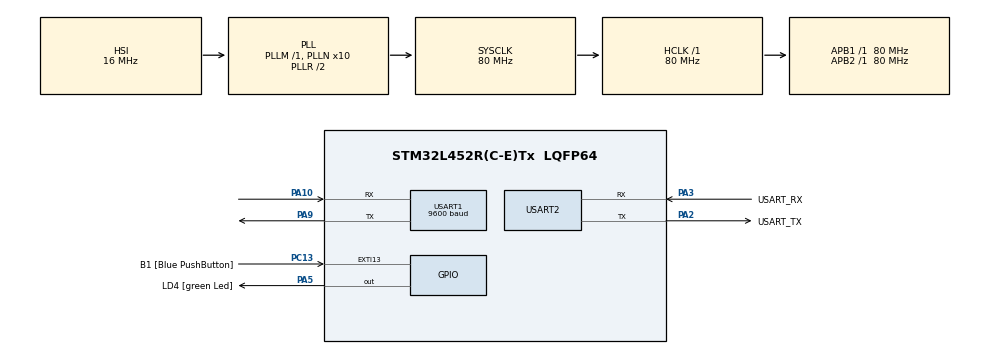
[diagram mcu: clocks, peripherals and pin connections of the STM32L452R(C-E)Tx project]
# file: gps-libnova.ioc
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Mcu.Family=STM32L4
Mcu.Name=STM32L452R(C-E)Tx
Mcu.Package=LQFP64
NVIC.PriorityGroup=NVIC_PRIORITYGROUP_4
NVIC.USART1_IRQn=true\:0\:0\:false\:false\:true\:true\:true\:true
PA10.Mode=Asynchronous
PA10.Signal=USART1_RX
PA13\ (JTMS/SWDIO).GPIO_Label=TMS
PA13\ (JTMS/SWDIO).Mode=Serial_Wire
PA13\ (JTMS/SWDIO).Signal=SYS_JTMS-SWDIO
PA14\ (JTCK/SWCLK).GPIO_Label=TCK
PA14\ (JTCK/SWCLK).Mode=Serial_Wire
PA14\ (JTCK/SWCLK).Signal=SYS_JTCK-SWCLK
PA2.GPIO_Label=USART_TX
PA2.GPIO_Mode=GPIO_MODE_AF_PP
PA2.GPIO_PuPd=GPIO_NOPULL
PA2.GPIO_Speed=GPIO_SPEED_FREQ_VERY_HIGH
PA2.Mode=Asynchronous
PA2.Signal=USART2_TX
PA3.GPIO_Label=USART_RX
PA3.GPIO_Mode=GPIO_MODE_AF_PP
PA3.GPIO_PuPd=GPIO_NOPULL
PA3.GPIO_Speed=GPIO_SPEED_FREQ_VERY_HIGH
PA3.Mode=Asynchronous
PA3.Signal=USART2_RX
PA5.GPIO_Label=LD4 [green Led]
PA5.GPIO_ModeDefaultOutputPP=GPIO_MODE_OUTPUT_PP
PA5.GPIO_PuPd=GPIO_NOPULL
PA5.GPIO_Speed=GPIO_SPEED_FREQ_LOW
PA5.Signal=GPIO_Output
PA9.Mode=Asynchronous
PA9.Signal=USART1_TX
PB3\ (JTDO/TRACESWO).GPIO_Label=SWO
PB3\ (JTDO/TRACESWO).Signal=SYS_JTDO-SWO
PC13.GPIO_Label=B1 [Blue PushButton]
PC13.GPIO_ModeDefaultEXTI=GPIO_MODE_IT_FALLING
PC13.GPIO_PuPd=GPIO_NOPULL
PC13.Signal=GPXTI13
PC14-OSC32_IN\ (PC14).Mode=LSE-External-Oscillator
PC14-OSC32_IN\ (PC14).Signal=RCC_OSC32_IN
PC15-OSC32_OUT\ (PC15).Mode=LSE-External-Oscillator
PC15-OSC32_OUT\ (PC15).Signal=RCC_OSC32_OUT
PH0-OSC_IN\ (PH0).Signal=RCC_OSC_IN
PH1-OSC_OUT\ (PH1).Signal=RCC_OSC_OUT
ProjectManager.HeapSize=0x200
ProjectManager.StackSize=0x400
ProjectManager.TargetToolchain=STM32CubeIDE
RCC.ADCFreq_Value=64000000
RCC.AHBFreq_Value=80000000
RCC.APB1Freq_Value=80000000
RCC.APB1TimFreq_Value=80000000
RCC.APB2Freq_Value=80000000
RCC.APB2TimFreq_Value=80000000
RCC.CortexFreq_Value=80000000
RCC.HCLKFreq_Value=80000000
RCC.HSE_VALUE=8000000
RCC.HSI48_VALUE=48000000
RCC.HSI_VALUE=16000000
RCC.MSI_VALUE=4000000
RCC.PLLN=10
RCC.PLLSourceVirtual=RCC_PLLSOURCE_HSI
RCC.PREFETCH_ENABLE=1
RCC.SYSCLKFreq_VALUE=80000000
RCC.SYSCLKSource=RCC_SYSCLKSOURCE_PLLCLK
RCC.USBFreq_Value=64000000
RCC.VCOOutputFreq_Value=160000000
USART1.BaudRate=9600
USART1.VirtualMode-Asynchronous=VM_ASYNC
USART2.VirtualMode-Asynchronous=VM_ASYNC
board=NUCLEO-L452RE

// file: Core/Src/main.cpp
/* USER CODE BEGIN Header */
/**
  ******************************************************************************
  * @file           : main.c
  * @brief          : Main program body
  ******************************************************************************
  * @attention
  *
  * Copyright (c) 2023 STMicroelectronics.
  * All rights reserved.
  *
  * This software is licensed under terms that can be found in the LICENSE file
  * in the root directory of this software component.
  * If no LICENSE file comes with this software, it is provided AS-IS.
  *
  ******************************************************************************
  * date completed: jun 19, 2023
  * Celine Kwan
  * sometimes works and sometimes doesnt - microsReady and microSeconds weird, unstable behaviour
  * ^^ FIXED -- now works fine
  */
/* USER CODE END Header */
#include "main.h"

/* USER CODE BEGIN Includes */
#include <stdio.h>
#include <string.h>

#include <gps/uartRingBuffer.h>
#include <gps/NMEA.h>

#include <GeographicLib/DMS.hpp>

#include <libnova/ln_types.h>
#include <libnova/julian_day.h>
#include <libnova/transform.h>
#include <libnova/utility.h>

using namespace GeographicLib;
/* USER CODE END Includes */

/* USER CODE BEGIN PD */
//#define MICROS_READY 30000
/* USER CODE END PD */

UART_HandleTypeDef huart1;
UART_HandleTypeDef huart2;

void SystemClock_Config(void);
static void MX_GPIO_Init(void);
static void MX_USART2_UART_Init(void);
static void MX_USART1_UART_Init(void);

/* USER CODE BEGIN 0 */
char GGA[100];
char RMC[100];
GPSSTRUCT gpsData;

//uint32_t microsReady, microsCurrent; // unsigned long
//int microsReady, microsCurrent; // unsigned long
int microsStart = 0;
int microsCurrent = 0;
int microsReady = 30000;
int flag;

// input into hrz-to-equ
struct lnh_equ_posn hobject, hequ;
struct lnh_lnlat_posn hobserver;
struct ln_equ_posn object, equ;
struct ln_hrz_posn hrz;
struct lnh_hrz_posn hhrz;
struct ln_lnlat_posn observer;
double JD;
struct ln_date date;

// pointers for printing
ln_date *date_ptr = &date;
ln_hrz_posn *hrz_ptr = &hrz;
ln_lnlat_posn *observer_ptr = &observer;
ln_equ_posn *equ_ptr = &equ;

// buffers for printing
char buf1[50] = {0};
char buf2[50] = {0};
char buf3[50] = {0};
char buf4[50] = {0};

/* USER CODE END 0 */

int main(void)
{

  /* MCU Configuration--------------------------------------------------------*/

  /* Reset of all peripherals, Initializes the Flash interface and the Systick. */
  HAL_Init();

  /* Configure the system clock */
  SystemClock_Config();

  /* Initialize all configured peripherals */
  MX_GPIO_Init();
  MX_USART2_UART_Init();
  MX_USART1_UART_Init();
  /* USER CODE BEGIN 2 */
//  	microsReady = 30000; // 30s
  	flag = 0; // non-zero after first time accessed
	Ringbuf_init();

	HAL_Delay(1000);
	microsStart = HAL_GetTick();

  /* USER CODE END 2 */

  /* Infinite loop */
  while (1)
  {

    /* USER CODE BEGIN 3 */

	//	  ========== GPS Ring Buffer ==================================
	if (Wait_for("GG") == 1) { // "GPGGA" - need "A" for decodeGGA to work properly
	  int value_1 = Copy_upto("*", GGA); // 1=successful copy
	  int value_2 = decodeGGA(GGA,&gpsData.ggastruct); // 0=fixed; 1=error
	}

	if (Wait_for("RM") == 1) { // "GPRMC" - need "C" for decodeRMC to work properly
	  int value_3 = Copy_upto("*", RMC); // 1=successful copy
	  int value_4 = decodeRMC(RMC,&gpsData.rmcstruct); // 0=fixed; 1=error
	}

	microsCurrent = HAL_GetTick();
	char ready_msg[] = "\r\n GPS data is stable and ready for reading.";
	if ( ((microsCurrent-microsStart) >= microsReady) && (flag == 0) ) { // 30s
	  flag = 1;
	  HAL_UART_Transmit(&huart2, (uint8_t*)ready_msg, sizeof(ready_msg), 10);
	  continue;
	} else if ((microsCurrent-microsStart) < microsReady) {
		continue;
	} else if ((microsCurrent-microsStart) >= microsReady) {
		//	  ========== Conversions ==================================

		// get lat -> Encode(lat...)
		GGASTRUCT *gga = &gpsData.ggastruct;

		// float format
		float lat = gga->lcation.latitude;
		float lng = gga->lcation.longitude;

		char lat_dir = gga->lcation.NS;
		char lng_dir = gga->lcation.EW;

//		if (lat_dir == 'S') {
//			lat *= -1;
//		}
//		if (lng_dir == 'W') {
//			lng *= -1;
//		}

//		char buf[30] = {0};
//		sprintf(buf,"\r\n % 4f % 4f",lat,lng);

		// integer format - works fine
//		int lat = (int)gga->lcation.latitude;
//		int lng = (int)gga->lcation.longitude;
//		char buf[100] = {0};
//		sprintf(buf,"\r\n %d %d",lat,lng);
//		HAL_UART_Transmit(&huart2, (uint8_t*)buf, sizeof(buf), 100);

		/**
		 * Split angle into degrees and minutes and seconds.
		 *
		 * @param[in] ang angle (degrees)
		 * @param[out] d degrees (an integer returned as a real)
		 * @param[out] m arc minutes (an integer returned as a real)
		 * @param[out] s arc seconds.
		 * static void Encode(real ang, real& d, real& m, real& s) {...}
		 **********************************************************************/
		double d_1=0, d_2 =0;
		double m_1=0, m_2 =0;
		double s_1=0, s_2 =0;

		DMS::Encode(lat,d_1,m_1,s_1); // latitude
		DMS::Encode(lng,d_2,m_2,s_2); // longitude

		// deal with negative direction
		int neg_lat = 0;
		int neg_lng = 0;

		if (lat_dir == 'S') neg_lat = 1;
		if (lng_dir == 'W') neg_lng = 1;

		// works until here

		// conversion ***********************
		/*
		 * Bahen
		 * lat: 43.659822
		 * lng: -79.397056
		 * DMS lat: 43° 39' 35.3592'' N
		 * DMS lng: 79° 23' 49.4016'' W
		 */
		hobserver.lng.neg = neg_lng; //1
		hobserver.lng.degrees = d_2; //79
		hobserver.lng.minutes = m_2; //14
		hobserver.lng.seconds = s_2; //16
		hobserver.lat.neg = neg_lat; //0
		hobserver.lat.degrees = d_1; //43
		hobserver.lat.minutes = m_1; //23
		hobserver.lat.seconds = s_1; //44

		/* Alnilam
		 * RA: 05h 36m 12s
		 * DEC: -01° 12' 06"
		 */
		hobject.ra.hours = 5;
		hobject.ra.minutes = 36;
		hobject.ra.seconds = 12;
		hobject.dec.neg = 1;
		hobject.dec.degrees = 1;
		hobject.dec.minutes = 12;
		hobject.dec.seconds = 6;

		// works

		/* UT date and time */
		RMCSTRUCT *rmc = &gpsData.rmcstruct;

		int gps_year = rmc->date.Yr; /*!< Years. All values are valid */
		int gps_month = rmc->date.Mon; /*!< Months. Valid values : 1 (January) - 12 (December) */
		int gps_day = rmc->date.Day; /*!< Days. Valid values 1 - 28,29,30,31 Depends on month.*/
		int gps_hour = gga->tim.hour; /*!< Hours. Valid values 0 - 23. */
		int gps_minutes = gga->tim.min; /*!< Minutes. Valid values 0 - 59. */
		int gps_seconds = gga->tim.sec; /*!< Seconds. Valid values 0 - 59.99999.... */

		date.years = 2000 + gps_year;
		date.months = gps_month;
		date.days = gps_day;
		date.hours = gps_hour;
		date.minutes = gps_minutes;
		date.seconds = gps_seconds;

		// Conversion *********************
		JD = ln_get_julian_day (&date);
		ln_hequ_to_equ (&hobject, &object);
		ln_hlnlat_to_lnlat (&hobserver, &observer);

		ln_get_hrz_from_equ (&object, &observer, JD, &hrz);
		ln_hrz_to_hhrz(&hrz, &hhrz);

		ln_get_equ_from_hrz (&hrz, &observer, JD, &equ);

		d_1 = 0; // breakpoint

		// Print out information *********************
		// day/mon/yr (int), hr/min/sec (int), JD (double)
		// az/alt (double), lng/lat (double), ra/dec (double)

//		// problems here
//		HAL_UART_Transmit(&huart2, (uint8_t*)"\r\n\n\n NEW TEST **************", sizeof("\r\n\n\n NEW TEST **************"), 10);
//		sprintf(buf1,"\r\n dd/mm/yy:%d,%d,%d", date_ptr->days,date_ptr->months,date_ptr->years);
//		HAL_UART_Transmit(&huart2, (uint8_t*)buf1, sizeof(buf1), 10);
//		sprintf(buf2,"\r\n hr/min/sec:%d,%d,%d", date_ptr->hours,date_ptr->minutes,date_ptr->seconds);
//		HAL_UART_Transmit(&huart2, (uint8_t*)buf2, sizeof(buf2), 10);
//		sprintf(buf3,"\r\n JD:%d \r\n alt/az: %d, %d", JD, hrz_ptr->alt, hrz_ptr->az);
//		HAL_UART_Transmit(&huart2, (uint8_t*)buf3, sizeof(buf3), 10);
//		sprintf(buf4,"\r\n lng/lat: %d, %d \r\n ra/dec: %d, %d", observer_ptr->lng, observer_ptr->lat, equ_ptr->ra, equ_ptr->dec);
//		HAL_UART_Transmit(&huart2, (uint8_t*)buf4, sizeof(buf4), 10);

	}
	// check if time is still incrementing

  }
  /* USER CODE END 3 */
}

void SystemClock_Config(void)
{
  RCC_OscInitTypeDef RCC_OscInitStruct = {0};
  RCC_ClkInitTypeDef RCC_ClkInitStruct = {0};

  /** Configure the main internal regulator output voltage
  */
  if (HAL_PWREx_ControlVoltageScaling(PWR_REGULATOR_VOLTAGE_SCALE1) != HAL_OK)
  {
    Error_Handler();
  }

  /** Initializes the RCC Oscillators according to the specified parameters
  * in the RCC_OscInitTypeDef structure.
  */
  RCC_OscInitStruct.OscillatorType = RCC_OSCILLATORTYPE_HSI;
  RCC_OscInitStruct.HSIState = RCC_HSI_ON;
  RCC_OscInitStruct.HSICalibrationValue = RCC_HSICALIBRATION_DEFAULT;
  RCC_OscInitStruct.PLL.PLLState = RCC_PLL_ON;
  RCC_OscInitStruct.PLL.PLLSource = RCC_PLLSOURCE_HSI;
  RCC_OscInitStruct.PLL.PLLM = 1;
  RCC_OscInitStruct.PLL.PLLN = 10;
  RCC_OscInitStruct.PLL.PLLP = RCC_PLLP_DIV7;
  RCC_OscInitStruct.PLL.PLLQ = RCC_PLLQ_DIV2;
  RCC_OscInitStruct.PLL.PLLR = RCC_PLLR_DIV2;
  if (HAL_RCC_OscConfig(&RCC_OscInitStruct) != HAL_OK)
  {
    Error_Handler();
  }

  /** Initializes the CPU, AHB and APB buses clocks
  */
  RCC_ClkInitStruct.ClockType = RCC_CLOCKTYPE_HCLK|RCC_CLOCKTYPE_SYSCLK
                              |RCC_CLOCKTYPE_PCLK1|RCC_CLOCKTYPE_PCLK2;
  RCC_ClkInitStruct.SYSCLKSource = RCC_SYSCLKSOURCE_PLLCLK;
  RCC_ClkInitStruct.AHBCLKDivider = RCC_SYSCLK_DIV1;
  RCC_ClkInitStruct.APB1CLKDivider = RCC_HCLK_DIV1;
  RCC_ClkInitStruct.APB2CLKDivider = RCC_HCLK_DIV1;

  if (HAL_RCC_ClockConfig(&RCC_ClkInitStruct, FLASH_LATENCY_4) != HAL_OK)
  {
    Error_Handler();
  }
}

static void MX_USART1_UART_Init(void)
{

  huart1.Instance = USART1;
  huart1.Init.BaudRate = 9600;
  huart1.Init.WordLength = UART_WORDLENGTH_8B;
  huart1.Init.StopBits = UART_STOPBITS_1;
  huart1.Init.Parity = UART_PARITY_NONE;
  huart1.Init.Mode = UART_MODE_TX_RX;
  huart1.Init.HwFlowCtl = UART_HWCONTROL_NONE;
  huart1.Init.OverSampling = UART_OVERSAMPLING_16;
  huart1.Init.OneBitSampling = UART_ONE_BIT_SAMPLE_DISABLE;
  huart1.AdvancedInit.AdvFeatureInit = UART_ADVFEATURE_NO_INIT;
  if (HAL_UART_Init(&huart1) != HAL_OK)
  {
    Error_Handler();
  }

}

static void MX_USART2_UART_Init(void)
{

  huart2.Instance = USART2;
  huart2.Init.BaudRate = 115200;
  huart2.Init.WordLength = UART_WORDLENGTH_8B;
  huart2.Init.StopBits = UART_STOPBITS_1;
  huart2.Init.Parity = UART_PARITY_NONE;
  huart2.Init.Mode = UART_MODE_TX_RX;
  huart2.Init.HwFlowCtl = UART_HWCONTROL_NONE;
  huart2.Init.OverSampling = UART_OVERSAMPLING_16;
  huart2.Init.OneBitSampling = UART_ONE_BIT_SAMPLE_DISABLE;
  huart2.AdvancedInit.AdvFeatureInit = UART_ADVFEATURE_NO_INIT;
  if (HAL_UART_Init(&huart2) != HAL_OK)
  {
    Error_Handler();
  }

}

static void MX_GPIO_Init(void)
{
  GPIO_InitTypeDef GPIO_InitStruct = {0};

  /* GPIO Ports Clock Enable */
  __HAL_RCC_GPIOC_CLK_ENABLE();
  __HAL_RCC_GPIOH_CLK_ENABLE();
  __HAL_RCC_GPIOA_CLK_ENABLE();
  __HAL_RCC_GPIOB_CLK_ENABLE();

  /*Configure GPIO pin Output Level */
  HAL_GPIO_WritePin(LD4_GPIO_Port, LD4_Pin, GPIO_PIN_RESET);

  /*Configure GPIO pin : B1_Pin */
  GPIO_InitStruct.Pin = B1_Pin;
  GPIO_InitStruct.Mode = GPIO_MODE_IT_FALLING;
  GPIO_InitStruct.Pull = GPIO_NOPULL;
  HAL_GPIO_Init(B1_GPIO_Port, &GPIO_InitStruct);

  /*Configure GPIO pin : LD4_Pin */
  GPIO_InitStruct.Pin = LD4_Pin;
  GPIO_InitStruct.Mode = GPIO_MODE_OUTPUT_PP;
  GPIO_InitStruct.Pull = GPIO_NOPULL;
  GPIO_InitStruct.Speed = GPIO_SPEED_FREQ_LOW;
  HAL_GPIO_Init(LD4_GPIO_Port, &GPIO_InitStruct);

}

void Error_Handler(void)
{
  __disable_irq();
  while (1)
  {
  }
}
